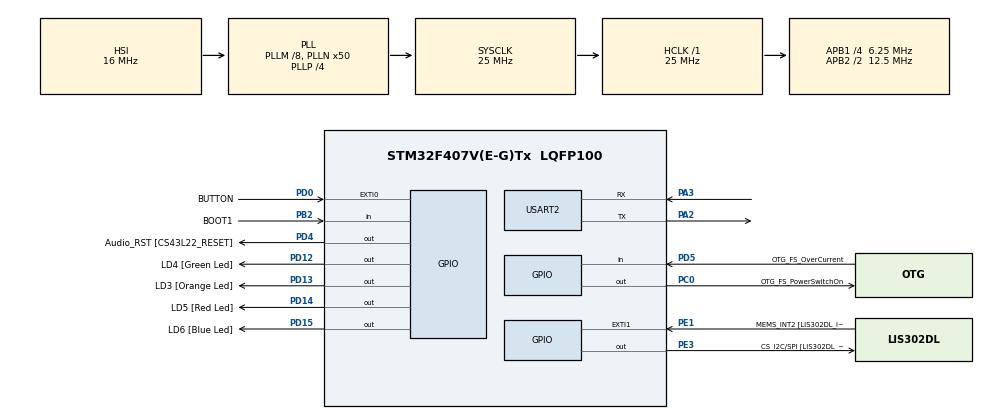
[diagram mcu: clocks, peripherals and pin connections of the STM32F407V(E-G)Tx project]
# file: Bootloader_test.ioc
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Mcu.Family=STM32F4
Mcu.Name=STM32F407V(E-G)Tx
Mcu.Package=LQFP100
NVIC.PriorityGroup=NVIC_PRIORITYGROUP_0
NVIC.USART2_IRQn=true\:0\:0\:false\:false\:true\:true\:true\:true
PA10.GPIO_Label=OTG_FS_ID
PA10.GPIO_Mode=GPIO_MODE_AF_PP
PA10.GPIO_PuPd=GPIO_NOPULL
PA10.GPIO_Speed=GPIO_SPEED_FREQ_LOW
PA10.Signal=USB_OTG_FS_ID
PA11.GPIO_Label=OTG_FS_DM
PA11.GPIO_Mode=GPIO_MODE_AF_PP
PA11.GPIO_PuPd=GPIO_NOPULL
PA11.GPIO_Speed=GPIO_SPEED_FREQ_LOW
PA11.Signal=USB_OTG_FS_DM
PA12.GPIO_Label=OTG_FS_DP
PA12.GPIO_Mode=GPIO_MODE_AF_PP
PA12.GPIO_PuPd=GPIO_NOPULL
PA12.GPIO_Speed=GPIO_SPEED_FREQ_LOW
PA12.Signal=USB_OTG_FS_DP
PA13.GPIO_Label=SWDIO
PA13.Mode=Serial_Wire
PA13.Signal=SYS_JTMS-SWDIO
PA14.GPIO_Label=SWCLK
PA14.Mode=Serial_Wire
PA14.Signal=SYS_JTCK-SWCLK
PA2.Mode=Asynchronous
PA2.Signal=USART2_TX
PA3.Mode=Asynchronous
PA3.Signal=USART2_RX
PA4.GPIO_Label=I2S3_WS [CS43L22_LRCK]
PA4.GPIO_Mode=GPIO_MODE_AF_PP
PA4.GPIO_PuPd=GPIO_NOPULL
PA4.GPIO_Speed=GPIO_SPEED_FREQ_LOW
PA4.Signal=I2S3_WS
PA5.GPIO_Label=SPI1_SCK [LIS302DL_SCL/SPC]
PA5.GPIO_Mode=GPIO_MODE_AF_PP
PA5.GPIO_PuPd=GPIO_NOPULL
PA5.GPIO_Speed=GPIO_SPEED_FREQ_LOW
PA5.Signal=SPI1_SCK
PA6.GPIO_Label=SPI1_MISO [LIS302DL_SDO]
PA6.GPIO_Mode=GPIO_MODE_AF_PP
PA6.GPIO_PuPd=GPIO_NOPULL
PA6.GPIO_Speed=GPIO_SPEED_FREQ_LOW
PA6.Signal=SPI1_MISO
PA7.GPIO_Label=SPI1_MOSI [LIS302DL_SDA/SDI/SDO]
PA7.GPIO_Mode=GPIO_MODE_AF_PP
PA7.GPIO_PuPd=GPIO_NOPULL
PA7.GPIO_Speed=GPIO_SPEED_FREQ_LOW
PA7.Signal=SPI1_MOSI
PA9.GPIO_Label=VBUS_FS
PA9.GPIO_Mode=GPIO_MODE_INPUT
PA9.GPIO_PuPd=GPIO_NOPULL
PA9.Signal=USB_OTG_FS_VBUS
PB10.GPIO_Label=CLK_IN [MP45DT02_CLK]
PB10.GPIO_Mode=GPIO_MODE_AF_PP
PB10.GPIO_PuPd=GPIO_NOPULL
PB10.GPIO_Speed=GPIO_SPEED_FREQ_LOW
PB10.Signal=I2S2_CK
PB2.GPIO_Label=BOOT1
PB2.GPIO_Mode=GPIO_MODE_INPUT
PB2.GPIO_PuPd=GPIO_NOPULL
PB2.Signal=GPIO_Input
PB3.GPIO_Label=SWO
PB3.Signal=SYS_JTDO-SWO
PB6.GPIO_Label=Audio_SCL [CS43L22_SCL]
PB6.GPIO_Mode=GPIO_MODE_AF_OD
PB6.GPIO_PuPd=GPIO_NOPULL
PB6.GPIO_Speed=GPIO_SPEED_FREQ_LOW
PB6.Signal=I2C1_SCL
PC0.GPIO_Label=OTG_FS_PowerSwitchOn
PC0.GPIO_PuPd=GPIO_NOPULL
PC0.GPIO_Speed=GPIO_SPEED_FREQ_LOW
PC0.PinState=GPIO_PIN_SET
PC0.Signal=GPIO_Output
PC10.GPIO_Label=I2S3_SCK [CS43L22_SCLK]
PC10.GPIO_Mode=GPIO_MODE_AF_PP
PC10.GPIO_PuPd=GPIO_NOPULL
PC10.GPIO_Speed=GPIO_SPEED_FREQ_LOW
PC10.Signal=I2S3_CK
PC12.GPIO_Label=I2S3_SD [CS43L22_SDIN]
PC12.GPIO_Mode=GPIO_MODE_AF_PP
PC12.GPIO_PuPd=GPIO_NOPULL
PC12.GPIO_Speed=GPIO_SPEED_FREQ_LOW
PC12.Signal=I2S3_SD
PC14-OSC32_IN.GPIO_Label=PC14-OSC32_IN
PC14-OSC32_IN.Signal=RCC_OSC32_IN
PC15-OSC32_OUT.GPIO_Label=PC15-OSC32_OUT
PC15-OSC32_OUT.Signal=RCC_OSC32_OUT
PC3.GPIO_Label=PDM_OUT [MP45DT02_DOUT]
PC3.GPIO_Mode=GPIO_MODE_AF_PP
PC3.GPIO_PuPd=GPIO_NOPULL
PC3.GPIO_Speed=GPIO_SPEED_FREQ_LOW
PC3.Signal=I2S2_SD
PC7.GPIO_Label=I2S3_MCK [CS43L22_MCLK]
PC7.GPIO_Mode=GPIO_MODE_AF_PP
PC7.GPIO_PuPd=GPIO_NOPULL
PC7.GPIO_Speed=GPIO_SPEED_FREQ_LOW
PC7.Signal=I2S3_MCK
PD0.GPIO_Label=BUTTON
PD0.GPIO_ModeDefaultEXTI=GPIO_MODE_IT_FALLING
PD0.GPIO_PuPd=GPIO_PULLUP
PD0.Signal=GPXTI0
PD12.GPIO_Label=LD4 [Green Led]
PD12.GPIO_PuPd=GPIO_NOPULL
PD12.GPIO_Speed=GPIO_SPEED_FREQ_LOW
PD12.Signal=GPIO_Output
PD13.GPIO_Label=LD3 [Orange Led]
PD13.GPIO_PuPd=GPIO_NOPULL
PD13.GPIO_Speed=GPIO_SPEED_FREQ_LOW
PD13.Signal=GPIO_Output
PD14.GPIO_Label=LD5 [Red Led]
PD14.GPIO_PuPd=GPIO_NOPULL
PD14.GPIO_Speed=GPIO_SPEED_FREQ_LOW
PD14.Signal=GPIO_Output
PD15.GPIO_Label=LD6 [Blue Led]
PD15.GPIO_PuPd=GPIO_NOPULL
PD15.GPIO_Speed=GPIO_SPEED_FREQ_LOW
PD15.Signal=GPIO_Output
PD4.GPIO_Label=Audio_RST [CS43L22_RESET]
PD4.GPIO_PuPd=GPIO_NOPULL
PD4.GPIO_Speed=GPIO_SPEED_FREQ_LOW
PD4.Signal=GPIO_Output
PD5.GPIO_Label=OTG_FS_OverCurrent
PD5.GPIO_Mode=GPIO_MODE_INPUT
PD5.GPIO_PuPd=GPIO_NOPULL
PD5.Signal=GPIO_Input
PE1.GPIO_Label=MEMS_INT2 [LIS302DL_INT2]
PE1.GPIO_ModeDefaultEXTI=GPIO_MODE_EVT_RISING
PE1.GPIO_PuPd=GPIO_NOPULL
PE1.Signal=GPXTI1
PE3.GPIO_Label=CS_I2C/SPI [LIS302DL_CS_I2C/SPI]
PE3.GPIO_PuPd=GPIO_NOPULL
PE3.GPIO_Speed=GPIO_SPEED_FREQ_LOW
PE3.Signal=GPIO_Output
PH0-OSC_IN.GPIO_Label=PH0-OSC_IN
PH0-OSC_IN.Signal=RCC_OSC_IN
PH1-OSC_OUT.GPIO_Label=PH1-OSC_OUT
PH1-OSC_OUT.Signal=RCC_OSC_OUT
ProjectManager.HeapSize=0x200
ProjectManager.StackSize=0x400
ProjectManager.TargetToolchain=STM32CubeIDE
RCC.48MHZClocksFreq_Value=14285714.285714285
RCC.AHBFreq_Value=25000000
RCC.APB1CLKDivider=RCC_HCLK_DIV4
RCC.APB1Freq_Value=6250000
RCC.APB1TimFreq_Value=12500000
RCC.APB2CLKDivider=RCC_HCLK_DIV2
RCC.APB2Freq_Value=12500000
RCC.APB2TimFreq_Value=25000000
RCC.CortexFreq_Value=25000000
RCC.HCLKFreq_Value=25000000
RCC.HSE_VALUE=8000000
RCC.HSI_VALUE=16000000
RCC.LSE_VALUE=32768
RCC.PLLM=8
RCC.PLLN=50
RCC.PLLP=RCC_PLLP_DIV4
RCC.PLLQ=7
RCC.SYSCLKFreq_VALUE=25000000
RCC.SYSCLKSource=RCC_SYSCLKSOURCE_PLLCLK
RCC.VCOOutputFreq_Value=100000000
USART2.VirtualMode=VM_ASYNC
board=STM32F407G-DISC1

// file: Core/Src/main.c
/* USER CODE BEGIN Header */
/**
  ******************************************************************************
  * @file           : main.c
  * @brief          : Main program body
  ******************************************************************************
  * @attention
  *
  * Copyright (c) 2026 STMicroelectronics.
  * All rights reserved.
  *
  * This software is licensed under terms that can be found in the LICENSE file
  * in the root directory of this software component.
  * If no LICENSE file comes with this software, it is provided AS-IS.
  *
  ******************************************************************************
  */
/* USER CODE END Header */
#include "main.h"

/* USER CODE BEGIN Includes */
#include "string.h"
/* USER CODE END Includes */

UART_HandleTypeDef huart2;

void SystemClock_Config(void);
static void MX_GPIO_Init(void);
static void MX_USART2_UART_Init(void);

/* USER CODE BEGIN 0 */
void UART2_Print(char *str);
void bootloader_selector(void);
void main_boot_mode_1(void);
void main_boot_mode_2(void);
/* USER CODE END 0 */

int main(void)
{

  /* MCU Configuration--------------------------------------------------------*/

  /* Reset of all peripherals, Initializes the Flash interface and the Systick. */
  HAL_Init();

  /* Configure the system clock */
  SystemClock_Config();

  /* Initialize all configured peripherals */
  MX_GPIO_Init();
  MX_USART2_UART_Init();
  /* USER CODE BEGIN 2 */
  bootloader_selector();
  /* USER CODE END 2 */

  /* Infinite loop */
  while (1)
  {

  }
}

void SystemClock_Config(void)
{
  RCC_OscInitTypeDef RCC_OscInitStruct = {0};
  RCC_ClkInitTypeDef RCC_ClkInitStruct = {0};

  /** Configure the main internal regulator output voltage
  */
  __HAL_RCC_PWR_CLK_ENABLE();
  __HAL_PWR_VOLTAGESCALING_CONFIG(PWR_REGULATOR_VOLTAGE_SCALE1);

  /** Initializes the RCC Oscillators according to the specified parameters
  * in the RCC_OscInitTypeDef structure.
  */
  RCC_OscInitStruct.OscillatorType = RCC_OSCILLATORTYPE_HSI;
  RCC_OscInitStruct.HSIState = RCC_HSI_ON;
  RCC_OscInitStruct.HSICalibrationValue = RCC_HSICALIBRATION_DEFAULT;
  RCC_OscInitStruct.PLL.PLLState = RCC_PLL_ON;
  RCC_OscInitStruct.PLL.PLLSource = RCC_PLLSOURCE_HSI;
  RCC_OscInitStruct.PLL.PLLM = 8;
  RCC_OscInitStruct.PLL.PLLN = 50;
  RCC_OscInitStruct.PLL.PLLP = RCC_PLLP_DIV4;
  RCC_OscInitStruct.PLL.PLLQ = 7;
  if (HAL_RCC_OscConfig(&RCC_OscInitStruct) != HAL_OK)
  {
    Error_Handler();
  }

  /** Initializes the CPU, AHB and APB buses clocks
  */
  RCC_ClkInitStruct.ClockType = RCC_CLOCKTYPE_HCLK|RCC_CLOCKTYPE_SYSCLK
                              |RCC_CLOCKTYPE_PCLK1|RCC_CLOCKTYPE_PCLK2;
  RCC_ClkInitStruct.SYSCLKSource = RCC_SYSCLKSOURCE_PLLCLK;
  RCC_ClkInitStruct.AHBCLKDivider = RCC_SYSCLK_DIV1;
  RCC_ClkInitStruct.APB1CLKDivider = RCC_HCLK_DIV4;
  RCC_ClkInitStruct.APB2CLKDivider = RCC_HCLK_DIV2;

  if (HAL_RCC_ClockConfig(&RCC_ClkInitStruct, FLASH_LATENCY_0) != HAL_OK)
  {
    Error_Handler();
  }
}

static void MX_USART2_UART_Init(void)
{

  huart2.Instance = USART2;
  huart2.Init.BaudRate = 115200;
  huart2.Init.WordLength = UART_WORDLENGTH_8B;
  huart2.Init.StopBits = UART_STOPBITS_1;
  huart2.Init.Parity = UART_PARITY_NONE;
  huart2.Init.Mode = UART_MODE_TX_RX;
  huart2.Init.HwFlowCtl = UART_HWCONTROL_NONE;
  huart2.Init.OverSampling = UART_OVERSAMPLING_16;
  if (HAL_UART_Init(&huart2) != HAL_OK)
  {
    Error_Handler();
  }

}

static void MX_GPIO_Init(void)
{
  GPIO_InitTypeDef GPIO_InitStruct = {0};

  /* GPIO Ports Clock Enable */
  __HAL_RCC_GPIOE_CLK_ENABLE();
  __HAL_RCC_GPIOC_CLK_ENABLE();
  __HAL_RCC_GPIOH_CLK_ENABLE();
  __HAL_RCC_GPIOA_CLK_ENABLE();
  __HAL_RCC_GPIOB_CLK_ENABLE();
  __HAL_RCC_GPIOD_CLK_ENABLE();

  /*Configure GPIO pin Output Level */
  HAL_GPIO_WritePin(CS_I2C_SPI_GPIO_Port, CS_I2C_SPI_Pin, GPIO_PIN_RESET);

  /*Configure GPIO pin Output Level */
  HAL_GPIO_WritePin(OTG_FS_PowerSwitchOn_GPIO_Port, OTG_FS_PowerSwitchOn_Pin, GPIO_PIN_SET);

  /*Configure GPIO pin Output Level */
  HAL_GPIO_WritePin(GPIOD, LD4_Pin|LD3_Pin|LD5_Pin|LD6_Pin
                          |Audio_RST_Pin, GPIO_PIN_RESET);

  /*Configure GPIO pin : CS_I2C_SPI_Pin */
  GPIO_InitStruct.Pin = CS_I2C_SPI_Pin;
  GPIO_InitStruct.Mode = GPIO_MODE_OUTPUT_PP;
  GPIO_InitStruct.Pull = GPIO_NOPULL;
  GPIO_InitStruct.Speed = GPIO_SPEED_FREQ_LOW;
  HAL_GPIO_Init(CS_I2C_SPI_GPIO_Port, &GPIO_InitStruct);

  /*Configure GPIO pin : OTG_FS_PowerSwitchOn_Pin */
  GPIO_InitStruct.Pin = OTG_FS_PowerSwitchOn_Pin;
  GPIO_InitStruct.Mode = GPIO_MODE_OUTPUT_PP;
  GPIO_InitStruct.Pull = GPIO_NOPULL;
  GPIO_InitStruct.Speed = GPIO_SPEED_FREQ_LOW;
  HAL_GPIO_Init(OTG_FS_PowerSwitchOn_GPIO_Port, &GPIO_InitStruct);

  /*Configure GPIO pin : PDM_OUT_Pin */
  GPIO_InitStruct.Pin = PDM_OUT_Pin;
  GPIO_InitStruct.Mode = GPIO_MODE_AF_PP;
  GPIO_InitStruct.Pull = GPIO_NOPULL;
  GPIO_InitStruct.Speed = GPIO_SPEED_FREQ_LOW;
  GPIO_InitStruct.Alternate = GPIO_AF5_SPI2;
  HAL_GPIO_Init(PDM_OUT_GPIO_Port, &GPIO_InitStruct);

  /*Configure GPIO pin : I2S3_WS_Pin */
  GPIO_InitStruct.Pin = I2S3_WS_Pin;
  GPIO_InitStruct.Mode = GPIO_MODE_AF_PP;
  GPIO_InitStruct.Pull = GPIO_NOPULL;
  GPIO_InitStruct.Speed = GPIO_SPEED_FREQ_LOW;
  GPIO_InitStruct.Alternate = GPIO_AF6_SPI3;
  HAL_GPIO_Init(I2S3_WS_GPIO_Port, &GPIO_InitStruct);

  /*Configure GPIO pins : SPI1_SCK_Pin SPI1_MISO_Pin SPI1_MOSI_Pin */
  GPIO_InitStruct.Pin = SPI1_SCK_Pin|SPI1_MISO_Pin|SPI1_MOSI_Pin;
  GPIO_InitStruct.Mode = GPIO_MODE_AF_PP;
  GPIO_InitStruct.Pull = GPIO_NOPULL;
  GPIO_InitStruct.Speed = GPIO_SPEED_FREQ_LOW;
  GPIO_InitStruct.Alternate = GPIO_AF5_SPI1;
  HAL_GPIO_Init(GPIOA, &GPIO_InitStruct);

  /*Configure GPIO pin : BOOT1_Pin */
  GPIO_InitStruct.Pin = BOOT1_Pin;
  GPIO_InitStruct.Mode = GPIO_MODE_INPUT;
  GPIO_InitStruct.Pull = GPIO_NOPULL;
  HAL_GPIO_Init(BOOT1_GPIO_Port, &GPIO_InitStruct);

  /*Configure GPIO pin : CLK_IN_Pin */
  GPIO_InitStruct.Pin = CLK_IN_Pin;
  GPIO_InitStruct.Mode = GPIO_MODE_AF_PP;
  GPIO_InitStruct.Pull = GPIO_NOPULL;
  GPIO_InitStruct.Speed = GPIO_SPEED_FREQ_LOW;
  GPIO_InitStruct.Alternate = GPIO_AF5_SPI2;
  HAL_GPIO_Init(CLK_IN_GPIO_Port, &GPIO_InitStruct);

  /*Configure GPIO pins : LD4_Pin LD3_Pin LD5_Pin LD6_Pin
                           Audio_RST_Pin */
  GPIO_InitStruct.Pin = LD4_Pin|LD3_Pin|LD5_Pin|LD6_Pin
                          |Audio_RST_Pin;
  GPIO_InitStruct.Mode = GPIO_MODE_OUTPUT_PP;
  GPIO_InitStruct.Pull = GPIO_NOPULL;
  GPIO_InitStruct.Speed = GPIO_SPEED_FREQ_LOW;
  HAL_GPIO_Init(GPIOD, &GPIO_InitStruct);

  /*Configure GPIO pins : I2S3_MCK_Pin I2S3_SCK_Pin I2S3_SD_Pin */
  GPIO_InitStruct.Pin = I2S3_MCK_Pin|I2S3_SCK_Pin|I2S3_SD_Pin;
  GPIO_InitStruct.Mode = GPIO_MODE_AF_PP;
  GPIO_InitStruct.Pull = GPIO_NOPULL;
  GPIO_InitStruct.Speed = GPIO_SPEED_FREQ_LOW;
  GPIO_InitStruct.Alternate = GPIO_AF6_SPI3;
  HAL_GPIO_Init(GPIOC, &GPIO_InitStruct);

  /*Configure GPIO pin : VBUS_FS_Pin */
  GPIO_InitStruct.Pin = VBUS_FS_Pin;
  GPIO_InitStruct.Mode = GPIO_MODE_INPUT;
  GPIO_InitStruct.Pull = GPIO_NOPULL;
  HAL_GPIO_Init(VBUS_FS_GPIO_Port, &GPIO_InitStruct);

  /*Configure GPIO pins : OTG_FS_ID_Pin OTG_FS_DM_Pin OTG_FS_DP_Pin */
  GPIO_InitStruct.Pin = OTG_FS_ID_Pin|OTG_FS_DM_Pin|OTG_FS_DP_Pin;
  GPIO_InitStruct.Mode = GPIO_MODE_AF_PP;
  GPIO_InitStruct.Pull = GPIO_NOPULL;
  GPIO_InitStruct.Speed = GPIO_SPEED_FREQ_LOW;
  GPIO_InitStruct.Alternate = GPIO_AF10_OTG_FS;
  HAL_GPIO_Init(GPIOA, &GPIO_InitStruct);

  /*Configure GPIO pin : BUTTON_Pin */
  GPIO_InitStruct.Pin = BUTTON_Pin;
  GPIO_InitStruct.Mode = GPIO_MODE_IT_FALLING;
  GPIO_InitStruct.Pull = GPIO_PULLUP;
  HAL_GPIO_Init(BUTTON_GPIO_Port, &GPIO_InitStruct);

  /*Configure GPIO pin : OTG_FS_OverCurrent_Pin */
  GPIO_InitStruct.Pin = OTG_FS_OverCurrent_Pin;
  GPIO_InitStruct.Mode = GPIO_MODE_INPUT;
  GPIO_InitStruct.Pull = GPIO_NOPULL;
  HAL_GPIO_Init(OTG_FS_OverCurrent_GPIO_Port, &GPIO_InitStruct);

  /*Configure GPIO pin : Audio_SCL_Pin */
  GPIO_InitStruct.Pin = Audio_SCL_Pin;
  GPIO_InitStruct.Mode = GPIO_MODE_AF_OD;
  GPIO_InitStruct.Pull = GPIO_NOPULL;
  GPIO_InitStruct.Speed = GPIO_SPEED_FREQ_LOW;
  GPIO_InitStruct.Alternate = GPIO_AF4_I2C1;
  HAL_GPIO_Init(Audio_SCL_GPIO_Port, &GPIO_InitStruct);

  /*Configure GPIO pin : MEMS_INT2_Pin */
  GPIO_InitStruct.Pin = MEMS_INT2_Pin;
  GPIO_InitStruct.Mode = GPIO_MODE_EVT_RISING;
  GPIO_InitStruct.Pull = GPIO_NOPULL;
  HAL_GPIO_Init(MEMS_INT2_GPIO_Port, &GPIO_InitStruct);

}

/* USER CODE BEGIN 4 */
void UART2_Print(char* str) {

	HAL_UART_Transmit(&huart2, (uint8_t *)str, strlen(str), HAL_MAX_DELAY);
}

/**
 * @brief Truyền chuỗi ký tự qua UART2
 */
/**
 *
 */

static uint8_t button_pressed(void){
	return (HAL_GPIO_ReadPin(BUTTON_GPIO_Port, BUTTON_Pin) == GPIO_PIN_RESET) ? 1 : 0;
}

void bootloader_selector(void) {

	/* 1. Khởi tạo UART2 trước để sẵn sàng gửi thông báo */

	UART2_Print("\r\n=================================\r\n");
	UART2_Print("[BOOTLOADER] Checking Boot Mode...\r\n");

	if (button_pressed()) {
		UART2_Print(
				"[BOOTLOADER] Button pressed -> Entering MODE 2\r\n");
		UART2_Print(
				"[BOOTLOADER] Running Main Boot Mode 2 (Red LED Blinking)\r\n");
		main_boot_mode_2();
	} else {

		UART2_Print("[BOOTLOADER] Button NOT PRESSED -> Entering MODE 1\r\n");
		UART2_Print(
				"[BOOTLOADER] Running Main Boot Mode 1 (Green LED Blinking)\r\n");

		main_boot_mode_1();
	}
}
/**
 * @brief Boot Mode 1: Blink LED Đỏ (PD14 / LD5)
 */
void main_boot_mode_1(void) {
	while (1) {
		HAL_GPIO_TogglePin(GPIOD, LD5_Pin);
		HAL_Delay(500);            // Nháy chu kỳ 500ms
	}
}

/**
 * @brief Boot Mode 2: Blink LED Xanh (PD12 / LD4)
 */
void main_boot_mode_2(void) {
	while (1) {
		HAL_GPIO_TogglePin(GPIOD, LD4_Pin);
		HAL_Delay(150);           // Nháy nhanh (150ms)
	}
}

/**
 * @brief Delay bằng vòng lặp (Do chưa cấu hình SysTick/HAL)
 */

/* USER CODE END 4 */

void Error_Handler(void)
{
  __disable_irq();
  while (1)
  {
  }
}
